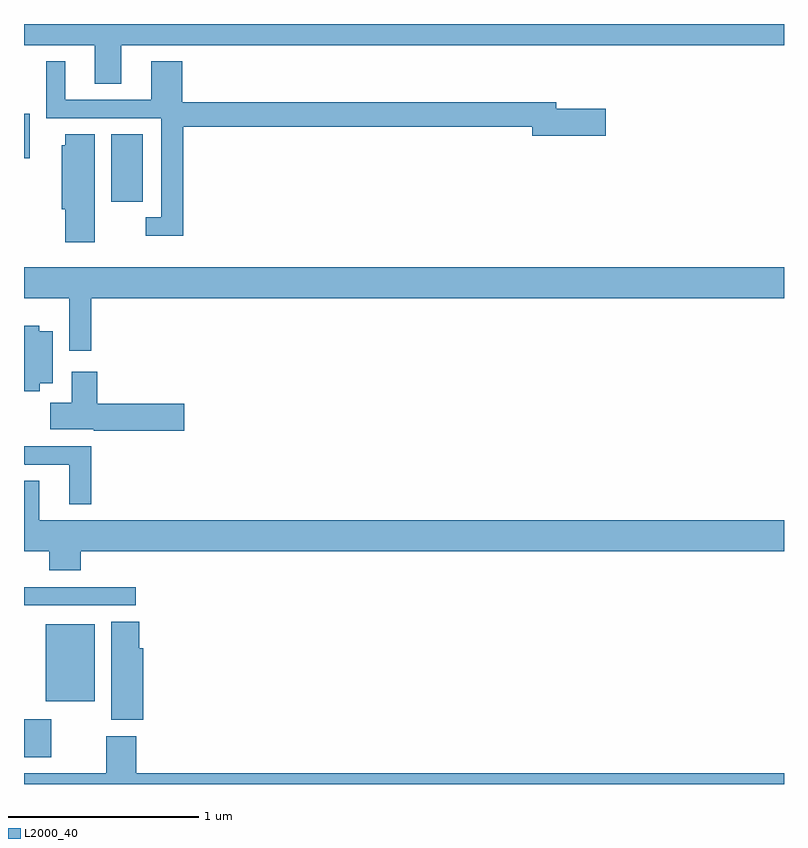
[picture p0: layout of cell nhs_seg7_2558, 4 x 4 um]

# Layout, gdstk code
import gdstk
lib = gdstk.Library(unit=1e-6, precision=1e-09)
def R(c, l, rs):  # rectangles x0, y0, x1, y1
    for r in rs: c.add(gdstk.rectangle(r[:2], r[2:], *l))
def P(c, l, *ps):  # polygons
    for p in ps: c.add(gdstk.Polygon(p, *l))
L2000_40 = (2000, 40)

nhs_seg7_2558 = lib.new_cell('nhs_seg7_2558')
R(nhs_seg7_2558, L2000_40, [(277,1058.142,277.143,1058.34), (277.115,1058.435,277.372,1058.842), (277,1058.94,277.588,1059.036), (277.46,1061.064,277.624,1061.42), (277,1061.294,277.03,1061.527)])
P(nhs_seg7_2558, L2000_40, [(277.513,1061.888),(281,1061.888),(281,1062),(277,1062),(277,1061.888),(277.373,1061.888),(277.373,1061.686),(277.513,1061.686)],
  [(277.838,1061.458),(279.674,1061.458),(279.674,1061.411),(280.063,1061.411),(280.063,1061.553),(279.802,1061.553),(279.802,1061.587),(277.832,1061.587),(277.832,1061.803),(277.67,1061.803),(277.67,1061.601),(277.216,1061.601),(277.216,1061.803),(277.118,1061.803),(277.118,1061.505),(277.722,1061.505),(277.722,1060.983),(277.641,1060.983),(277.641,1060.886),(277.838,1060.886)],
  [(277.372,1061.42),(277.217,1061.42),(277.217,1061.361),(277.199,1061.361),(277.199,1061.025),(277.217,1061.025),(277.217,1060.851),(277.372,1060.851)],
  [(277,1060.556),(277.238,1060.556),(277.238,1060.281),(277.355,1060.281),(277.355,1060.556),(281,1060.556),(281,1060.72),(277,1060.72)],
  [(277.084,1060.109),(277.15,1060.109),(277.15,1060.384),(277.08,1060.384),(277.08,1060.411),(277,1060.411),(277,1060.067),(277.084,1060.067)],
  [(277.843,1060.001),(277.385,1060.001),(277.385,1060.171),(277.25,1060.171),(277.25,1060.006),(277.137,1060.006),(277.137,1059.866),(277.368,1059.866),(277.368,1059.859),(277.843,1059.859)],
  [(277.355,1059.777),(277,1059.777),(277,1059.684),(277.003,1059.684),(277.003,1059.681),(277.238,1059.681),(277.238,1059.473),(277.355,1059.473)],
  [(277.298,1059.224),(281,1059.224),(281,1059.388),(277.081,1059.388),(277.081,1059.596),(277,1059.596),(277,1059.224),(277.133,1059.224),(277.133,1059.125),(277.298,1059.125)],
  [(277.628,1058.715),(277.607,1058.715),(277.607,1058.855),(277.46,1058.855),(277.46,1058.339),(277.628,1058.339)],
  [(281,1058.056),(277.592,1058.056),(277.592,1058.251),(277.432,1058.251),(277.432,1058.056),(277,1058.056),(277,1058),(281,1058)])

lib.write_gds('nhs_seg7_2558.gds')
